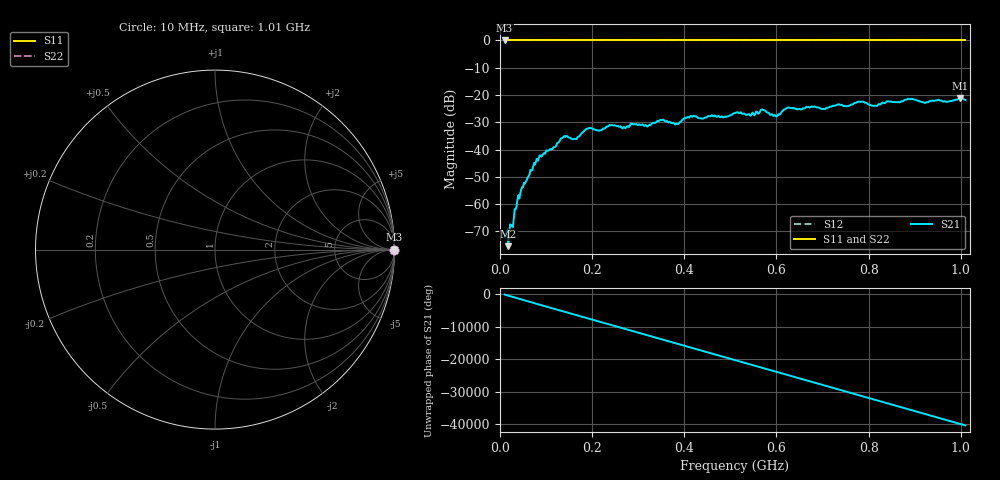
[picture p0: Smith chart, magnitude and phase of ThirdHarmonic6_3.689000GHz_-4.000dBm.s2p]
! 8/17/2025 12:30:32 PM
! C:\ANRITSUVNA\TEMP\TEMP.S2P
! CHANNEL.1
! TR.MEASUREMENT
! RAW.DATA
! RF.CORRECTION.OFF
! AVERAGING.OFF
! IF.BANDWIDTH: 5KHZ
! SWEEPTYPE:  FREQ.SWEEP(Linear)
! Reference Plane Port Info
! PORT:  PORT1  PORT2
! DISTANCE:  0  m  0  m
! TIME:  0  s  0  s
! PHASE.OFFSET:  0  deg.  0  deg.
! LOSS:  0  dB  0  dB
! REF.LOSS:  0  dB  0  dB
! REF.FREQ:  0  Hz  0  Hz
! Power Info
! POWER:  -20  dBm  -20  dBm
! EFF.POWER:  -20  dBm  -20  dBm
! SOURCE.ATTEN:  0  dB  0  dB
! TEST.ATTEN:  0  dB  0  dB
# GHZ S RI R 50.0
! FREQ.GHZ  S11RE  S11IM  S21RE  S21IM  S12RE  S12IM  S22RE  S22IM
!; PortSelection: Port_12
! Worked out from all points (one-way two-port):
!   501 points, 10 MHz to 1.01 GHz, reference 50 ohm
!   highest |S21| = -21.11 dB at 998 MHz (marker M1); lowest = -75.4 dB at 18 MHz (marker M2)
!   lowest |S11| = 0.0 dB at 10 MHz (marker M3)
!   |S11| at or under -10 dB: nowhere
!   |S22| runs from 0.0 to 0.0 dB; largest |S21 - S12| = 1.1
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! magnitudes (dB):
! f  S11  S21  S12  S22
! 10 MHz  0.0  -72.1  0.0  0.0
! 18 MHz  0.0  -75.4  0.0  0.0
! 48 MHz  0.0  -53.7  0.0  0.0
! 82 MHz  0.0  -44.1  0.0  0.0
! 136 MHz  0.0  -35.6  0.0  0.0
! 162 MHz  0.0  -36.0  0.0  0.0
! 178 MHz  0.0  -33.9  0.0  0.0
! 192 MHz  0.0  -32.1  0.0  0.0
! 322 MHz  0.0  -31.2  0.0  0.0
! 344 MHz  0.0  -29.6  0.0  0.0
! 384 MHz  0.0  -30.6  0.0  0.0
! 418 MHz  0.0  -27.9  0.0  0.0
! 510 MHz  0.0  -26.6  0.0  0.0
! 570 MHz  0.0  -25.3  0.0  0.0
! 598 MHz  0.0  -27.6  0.0  0.0
! 624 MHz  0.0  -24.6  0.0  0.0
! 678 MHz  0.0  -24.3  0.0  0.0
! 780 MHz  0.0  -22.4  0.0  0.0
! 814 MHz  0.0  -23.9  0.0  0.0
! 844 MHz  0.0  -22.4  0.0  0.0
! 998 MHz  0.0  -21.1  0.0  0.0
! 1.01 GHz  0.0  -21.8  0.0  0.0
